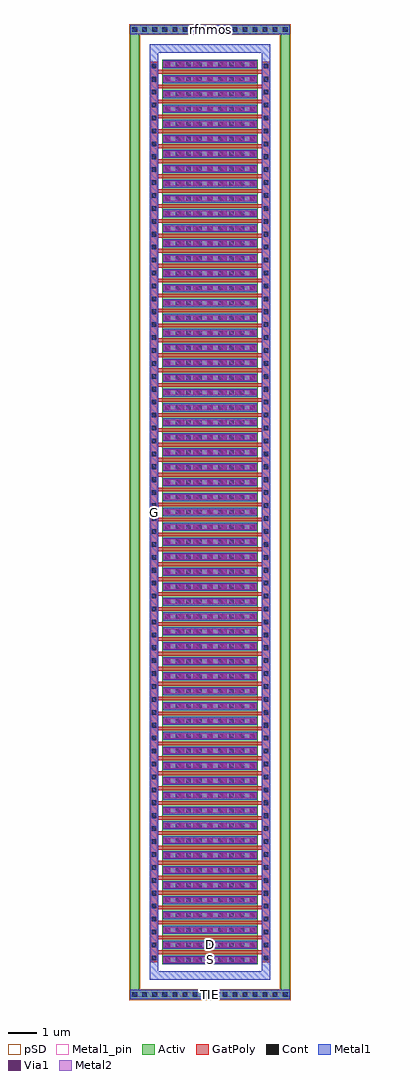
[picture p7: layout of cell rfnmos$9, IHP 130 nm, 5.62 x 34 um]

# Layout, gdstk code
import gdstk
lib = gdstk.Library(unit=1e-6, precision=1e-09)
def R(c, l, rs):  # rectangles x0, y0, x1, y1
    for r in rs: c.add(gdstk.rectangle(r[:2], r[2:], *l))
def A(c, l, x, y, w, h, nx, ny, dx, dy):  # array of equal rectangles
    R(c, l, [(x+i*dx, y+j*dy, x+i*dx+w, y+j*dy+h) for i in range(nx) for j in range(ny)])
def P(c, l, *ps):  # polygons
    for p in ps: c.add(gdstk.Polygon(p, *l))
Activ = (1, 0)
GatPoly = (5, 0)
Cont = (6, 0)
Metal1 = (8, 0)
Metal1_pin = (8, 2)
Metal2 = (10, 0)
pSD = (14, 0)
Via1 = (19, 0)

rfnmos_9 = lib.new_cell('rfnmos$9')
R(rfnmos_9, Activ, [(1.14,1.245,4.48,32.755)])
P(rfnmos_9, Activ, [(0.03,0.03),(0.03,33.65),(0.35,33.65),(0.35,0.35),(5.27,0.35),(5.27,33.65),(0.03,33.65),(0.03,33.97),(5.59,33.97),(5.59,0.03)])
A(rfnmos_9, GatPoly, 1.01, 1.595, 3.6, 0.13, 1, 60, 0, 0.52)
R(rfnmos_9, GatPoly, [(0.71,1.32,1.01,32.68), (4.61,1.32,4.91,32.68)])
A(rfnmos_9, Cont, 0.455, 0.11, 0.16, 0.16, 7, 2, 0.35, 33.62)
A(rfnmos_9, Cont, 2.9, 0.11, 0.16, 0.16, 8, 2, 0.35, 33.62)
A(rfnmos_9, Cont, 1.24, 1.32, 0.16, 0.16, 1, 61, 0, 0.52)
A(rfnmos_9, Cont, 1.61, 1.32, 0.16, 0.16, 1, 61, 0, 0.52)
A(rfnmos_9, Cont, 1.985, 1.32, 0.16, 0.16, 1, 61, 0, 0.52)
A(rfnmos_9, Cont, 2.355, 1.32, 0.16, 0.16, 1, 61, 0, 0.52)
A(rfnmos_9, Cont, 2.73, 1.32, 0.16, 0.16, 1, 61, 0, 0.52)
A(rfnmos_9, Cont, 3.1, 1.32, 0.16, 0.16, 1, 61, 0, 0.52)
A(rfnmos_9, Cont, 3.475, 1.32, 0.16, 0.16, 1, 61, 0, 0.52)
A(rfnmos_9, Cont, 3.845, 1.32, 0.16, 0.16, 1, 61, 0, 0.52)
A(rfnmos_9, Cont, 4.22, 1.32, 0.16, 0.16, 1, 61, 0, 0.52)
A(rfnmos_9, Cont, 0.78, 1.39, 0.16, 0.16, 1, 35, 0, 0.45)
A(rfnmos_9, Cont, 4.68, 1.39, 0.16, 0.16, 1, 35, 0, 0.45)
A(rfnmos_9, Cont, 0.78, 17.145, 0.16, 0.16, 1, 34, 0, 0.45)
A(rfnmos_9, Cont, 4.68, 17.145, 0.16, 0.16, 1, 34, 0, 0.45)
R(rfnmos_9, Cont, [(0.11,0.11,0.27,0.27), (0.78,32.45,0.94,32.61), (4.68,32.45,4.84,32.61), (0.11,33.73,0.27,33.89)])
A(rfnmos_9, Metal1, 1.19, 1.26, 3.24, 0.28, 1, 61, 0, 0.52)
R(rfnmos_9, Metal1, [(0.03,0.03,5.59,0.35), (0.76,1.34,0.96,32.66), (4.66,1.34,4.86,32.66), (0.03,33.65,5.59,33.97)])
P(rfnmos_9, Metal1, [(0.71,0.71),(0.71,32.99),(1.01,32.99),(1.01,1.01),(4.61,1.01),(4.61,32.99),(0.71,32.99),(0.71,33.29),(4.91,33.29),(4.91,0.71)])
R(rfnmos_9, Metal1_pin, [(0.03,0.11,5.59,0.27), (0.03,0.11,5.59,0.27), (1.19,1.26,4.43,1.54), (1.19,1.26,4.43,1.54), (0.76,1.34,0.96,32.66), (0.76,1.34,0.96,32.66), (1.19,1.78,4.43,2.06), (1.19,1.78,4.43,2.06)])
A(rfnmos_9, Metal2, 1.19, 1.3, 3.24, 0.2, 1, 61, 0, 0.52)
P(rfnmos_9, pSD, [(0,0),(0,33.62),(0.38,33.62),(0.38,0.38),(5.24,0.38),(5.24,33.62),(0,33.62),(0,34),(5.62,34),(5.62,0)])
A(rfnmos_9, Via1, 1.24, 1.305, 0.19, 0.19, 3, 61, 0.49, 0.52)
A(rfnmos_9, Via1, 2.715, 1.305, 0.19, 0.19, 3, 61, 0.49, 0.52)
A(rfnmos_9, Via1, 4.19, 1.305, 0.19, 0.19, 1, 61, 0, 0.52)
rfnmos_9.add(gdstk.Label('S', (2.81,1.42), layer=63, texttype=0))
rfnmos_9.add(gdstk.Label('D', (2.81,1.94), layer=63, texttype=0))
rfnmos_9.add(gdstk.Label('G', (0.86,17), layer=63, texttype=0))
rfnmos_9.add(gdstk.Label('TIE', (2.81,0.19), layer=63, texttype=0))
rfnmos_9.add(gdstk.Label('rfnmos', (2.81,33.81), layer=63, texttype=0))

lib.write_gds('rfnmos_9.gds')
